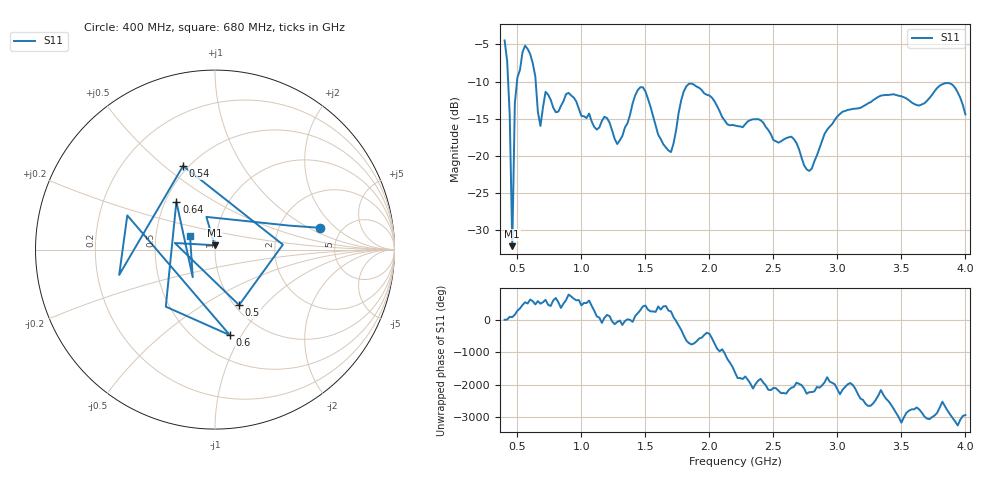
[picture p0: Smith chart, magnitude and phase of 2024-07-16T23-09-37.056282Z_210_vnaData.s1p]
!Created with skrf (http://scikit-rf.org).
# Hz S RI R 50.0
!freq ReS11 ImS11
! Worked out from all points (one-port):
!   181 points, 400 MHz to 4 GHz, reference 50 ohm
!   lowest |S11| = -32.2 dB at 460 MHz (marker M1), VSWR 1.05, Z = 49.8 + j2.44 ohm
!   |S11| at or under -10 dB: 427.6 MHz to 496.8 MHz (69.22 MHz wide, 15 % of centre); 642.9 MHz to end of sweep
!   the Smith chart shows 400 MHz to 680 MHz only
!   S11 on the Smith chart (normalised r, x): 400 MHz: 3.45, +1.30; 500 MHz: 1.05, -0.73; 540 MHz: 0.47, +0.58; 600 MHz: 0.72, -0.89; 640 MHz: 0.57, +0.34; 680 MHz: 0.75, +0.12
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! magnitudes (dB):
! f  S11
! 400 MHz  -4.5
! 420 MHz  -7.3
! 440 MHz  -14.5
! 460 MHz  -32.2
! 480 MHz  -12.9
! 500 MHz  -9.5
! 540 MHz  -6.0
! 600 MHz  -6.3
! 640 MHz  -9.3
! 680 MHz  -16.0
! 720 MHz  -11.4
! 800 MHz  -14.1
! 860 MHz  -12.6
! 1.12 GHz  -16.5
! 1.2 GHz  -14.9
! 1.3 GHz  -17.9
! 1.46 GHz  -10.8
! 1.68 GHz  -19.3
! 1.76 GHz  -14.2
! 1.86 GHz  -10.3
! 2.2 GHz  -15.9
! 2.66 GHz  -17.8
! 2.78 GHz  -22.0
! 2.92 GHz  -16.5
! 3.1 GHz  -13.8
! 3.56 GHz  -12.5
! 3.88 GHz  -10.2
! 4 GHz  -14.4
